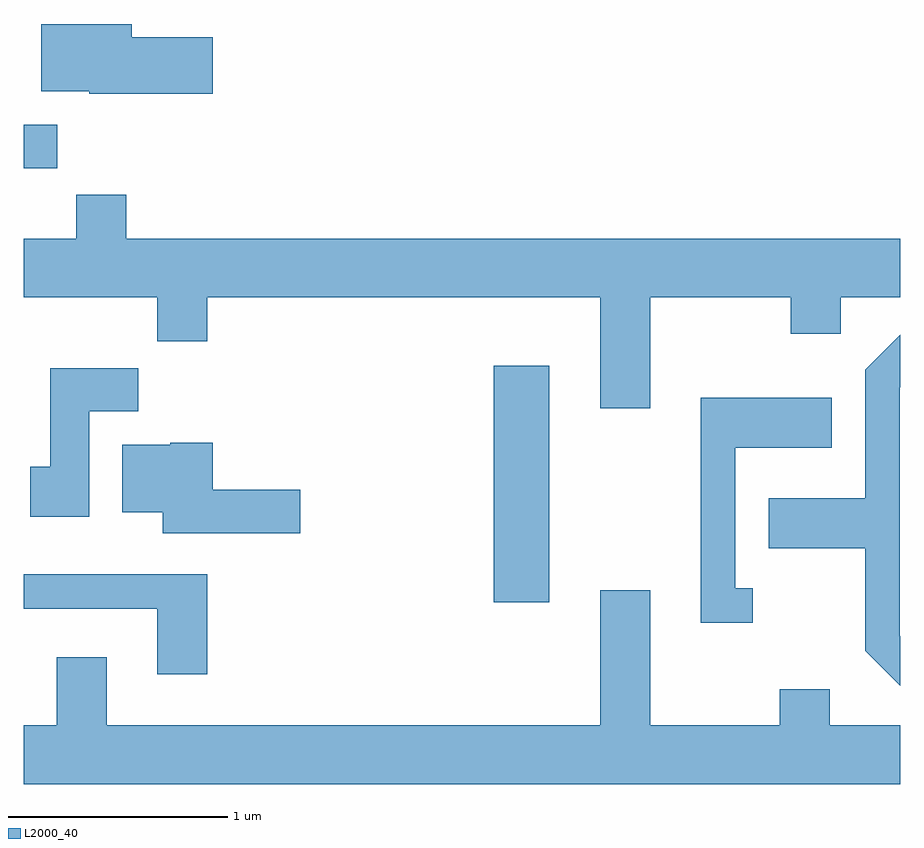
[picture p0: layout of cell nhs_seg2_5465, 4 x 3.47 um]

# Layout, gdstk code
import gdstk
lib = gdstk.Library(unit=1e-6, precision=1e-09)
def R(c, l, rs):  # rectangles x0, y0, x1, y1
    for r in rs: c.add(gdstk.rectangle(r[:2], r[2:], *l))
def P(c, l, *ps):  # polygons
    for p in ps: c.add(gdstk.Polygon(p, *l))
L2000_40 = (2000, 40)

nhs_seg2_5465 = lib.new_cell('nhs_seg2_5465')
R(nhs_seg2_5465, L2000_40, [(347.756,1089.106,348.009,1090.184), (345.611,1091.086,345.764,1091.284)])
P(nhs_seg2_5465, L2000_40, [(346.474,1091.684),(346.104,1091.684),(346.104,1091.744),(345.691,1091.744),(345.691,1091.436),(345.91,1091.436),(345.91,1091.426),(346.474,1091.426)],
  [(348.469,1090.496),(349.111,1090.496),(349.111,1090.331),(349.339,1090.331),(349.339,1090.496),(349.611,1090.496),(349.611,1090.764),(346.079,1090.764),(346.079,1090.964),(345.851,1090.964),(345.851,1090.764),(345.611,1090.764),(345.611,1090.496),(346.221,1090.496),(346.221,1090.296),(346.449,1090.296),(346.449,1090.496),(348.241,1090.496),(348.241,1089.991),(348.469,1089.991)],
  [(349.611,1088.95),(349.609,1088.952),(349.609,1090.084),(349.611,1090.086),(349.611,1090.326),(349.451,1090.167),(349.451,1089.579),(349.011,1089.579),(349.011,1089.351),(349.451,1089.351),(349.451,1088.884),(349.611,1088.724)],
  [(345.909,1089.976),(346.134,1089.976),(346.134,1090.174),(345.731,1090.174),(345.731,1089.724),(345.641,1089.724),(345.641,1089.496),(345.909,1089.496)],
  [(348.938,1089.169),(348.859,1089.169),(348.859,1089.811),(349.299,1089.811),(349.299,1090.039),(348.701,1090.039),(348.701,1089.011),(348.938,1089.011)],
  [(346.874,1089.619),(346.474,1089.619),(346.474,1089.834),(346.28,1089.834),(346.28,1089.824),(346.061,1089.824),(346.061,1089.516),(346.246,1089.516),(346.246,1089.421),(346.874,1089.421)],
  [(346.449,1089.234),(345.611,1089.234),(345.611,1089.076),(346.221,1089.076),(346.221,1088.776),(346.449,1088.776)],
  [(349.611,1088.544),(349.289,1088.544),(349.289,1088.709),(349.061,1088.709),(349.061,1088.544),(348.469,1088.544),(348.469,1089.159),(348.241,1089.159),(348.241,1088.544),(345.989,1088.544),(345.989,1088.854),(345.761,1088.854),(345.761,1088.544),(345.611,1088.544),(345.611,1088.276),(349.611,1088.276)])

lib.write_gds('nhs_seg2_5465.gds')
